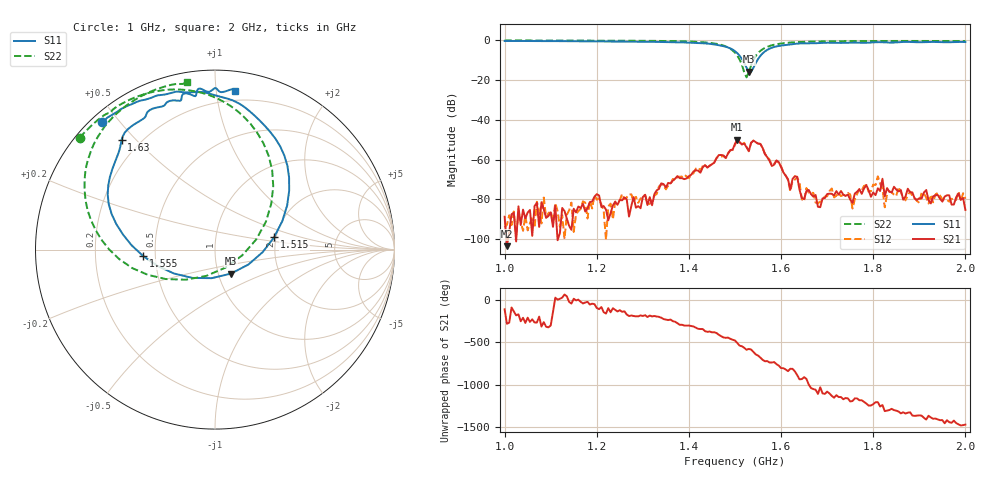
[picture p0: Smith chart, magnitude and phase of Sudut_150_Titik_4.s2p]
# Hz S RI R 50
! CMT, C1220, 16058040, 17.2.0/1
! Date: 14/08/2018 12:30:49
! Data: Format (Calibration Info)
! Freq  S11: Re/Im (F2)  S21: Re/Im (F2)  S12: Re/Im (F2)  S22: Re/Im (F2)
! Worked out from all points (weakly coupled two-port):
!   201 points, 1 GHz to 2 GHz, reference 50 ohm
!   highest |S21| = -49.91 dB at 1.505 GHz (marker M1); lowest = -103.4 dB at 1.005 GHz (marker M2)
!   lowest |S11| = -15.9 dB at 1.53 GHz (marker M3), VSWR 1.38, Z = 57.3 - j15.8 ohm
!   |S11| at or under -10 dB: 1.516 GHz to 1.549 GHz (32.49 MHz wide, 2.12 % of centre)
!   |S22| runs from -18.7 to -0.2 dB; largest |S21 - S12| = 0.00032
!   S11 on the Smith chart (normalised r, x): 1 GHz: 0.03, +0.45; 1.515 GHz: 1.95, +0.31; 1.555 GHz: 0.43, -0.04; 1.63 GHz: 0.13, +0.46; 2 GHz: 0.13, +1.13
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1e9  -0.6285 0.7097  -1.33e-05 -3.45e-05  1.11e-05 1.64e-05  -0.7532 0.6238
1.005e9  -0.6213 0.7147  1.24e-06 6.63e-06  -2.33e-05 1.8e-06  -0.7496 0.628
1.17e9  -0.4521 0.8156  5.82e-05 -5.15e-05  8.43e-05 -3.09e-05  -0.6172 0.7491
1.32e9  -0.2077 0.8803  -6.94e-05 1.8e-05  -9.64e-05 -9.63e-06  -0.4304 0.8537
1.335e9  -0.1872 0.8775  -0.000173 6.2e-05  -0.000202 6.79e-05  -0.4017 0.8634
1.45e9  0.196 0.7683  0.000715 -0.000285  0.000669 -0.000372  0.0199 0.8385
1.5e9  0.4133 0.3283  -0.00116 -0.00222  -0.00111 -0.00208  0.3246 0.3541
1.505e9  0.402 0.246  -0.00272 -0.00168  -0.00254 -0.00171  0.3141 0.2578
1.515e9  0.3297 0.0695  -0.00239 0.000248  -0.00243 0.000214  0.2298 0.0567
1.53e9  0.0876 -0.1341  -0.00132 0.000999  -0.00128 0.000998  -0.0507 -0.1472
1.555e9  -0.3997 -0.0363  0.00186 0.00163  0.00178 0.00173  -0.5334 -0.0531
1.6e9  -0.5726 0.4469  7.78e-05 -0.000644  0.000106 -0.000678  -0.7265 0.382
1.62e9  -0.5285 0.5697  -2.05e-06 -0.00018  -2.4e-05 -0.000157  -0.7083 0.4986
1.63e9  -0.5201 0.6126  -0.000205 -0.000326  -0.000155 -0.000275  -0.6932 0.5437
1.645e9  -0.4878 0.6685  -9.29e-05 5.84e-05  -6.12e-05 8.06e-05  -0.6686 0.6006
1.67e9  -0.4016 0.7274  0.000102 5.96e-05  0.000136 5.53e-05  -0.6248 0.6714
1.76e9  -0.2372 0.8309  2.72e-05 -0.000138  4.26e-05 -9.34e-05  -0.4833 0.8099
1.81e9  -0.1703 0.8701  -0.000108 -0.000158  -0.000362 -0.000115  -0.4124 0.8548
1.82e9  -0.1483 0.8681  -0.000308 -0.000124  -0.000131 0.000137  -0.3987 0.8612
1.825e9  -0.1353 0.864  -7.88e-05 9.09e-05  -6.16e-05 1.61e-05  -0.3919 0.8647
1.835e9  -0.1143 0.8554  -0.000127 9.29e-05  -0.000141 7.7e-05  -0.3786 0.8714
2e9  0.1124 0.8857  4.84e-05 -2.57e-05  8.15e-05 -6.65e-05  -0.1552 0.9315
